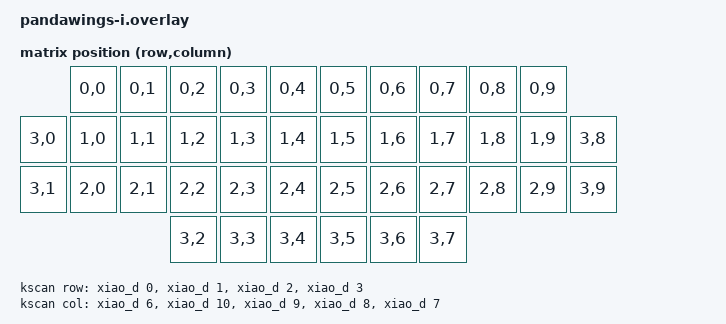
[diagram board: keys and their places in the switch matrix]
#include <dt-bindings/zmk/matrix_transform.h>

/ {
  kscan: kscan {
    compatible = "zmk,kscan-gpio-matrix";
    diode-direction = "col2row";

    col-gpios = 
      <&xiao_d 6 GPIO_ACTIVE_HIGH>,  // col1
      <&xiao_d 10 GPIO_ACTIVE_HIGH>, // col2
      <&xiao_d 9 GPIO_ACTIVE_HIGH>,  // col3
      <&xiao_d 8 GPIO_ACTIVE_HIGH>,  // col4
      <&xiao_d 7 GPIO_ACTIVE_HIGH>;  // col5
    
    row-gpios = 
      <&xiao_d 0 (GPIO_ACTIVE_HIGH | GPIO_PULL_DOWN)>,
      <&xiao_d 1 (GPIO_ACTIVE_HIGH | GPIO_PULL_DOWN)>,
      <&xiao_d 2 (GPIO_ACTIVE_HIGH | GPIO_PULL_DOWN)>,
      <&xiao_d 3 (GPIO_ACTIVE_HIGH | GPIO_PULL_DOWN)>;
  };

  default_transform: matrix_transform {
    compatible = "zmk,matrix-transform";
    columns = <10>;
    rows = <4>;

    // due to a wrong switch position in the pcb on the right half, SW34 and SW28 needed to be fliped
    //        | SW2  | SW3  | SW4  | SW5  | SW6  |  | SW27 | SW26 | SW25 | SW24 | SW23 | 
    // | SW7  | SW8  | SW9  | SW10 | SW11 | SW12 |  | SW33 | SW32 | SW31 | SW30 | SW29 | SW34 |
    // | SW13 | SW14 | SW15 | SW16 | SW17 | SW18 |  | SW39 | SW38 | SW37 | SW36 | SW35 | SW28 |
    //                      | SW19 | SW20 | SW21 |  | SW42 | SW41 | SW40 |

    map = <
              RC(0,0) RC(0,1) RC(0,2) RC(0,3) RC(0,4)  RC(0,5) RC(0,6) RC(0,7) RC(0,8) RC(0,9)
      RC(3,0) RC(1,0) RC(1,1) RC(1,2) RC(1,3) RC(1,4)  RC(1,5) RC(1,6) RC(1,7) RC(1,8) RC(1,9) RC(3,8)
      RC(3,1) RC(2,0) RC(2,1) RC(2,2) RC(2,3) RC(2,4)  RC(2,5) RC(2,6) RC(2,7) RC(2,8) RC(2,9) RC(3,9)
                              RC(3,2) RC(3,3) RC(3,4)  RC(3,5) RC(3,6) RC(3,7)
    >;
  };

  physical_layout: physical_layout {
    compatible = "zmk,physical-layout";
    display-name = "Default Layout";
    transform = <&default_transform>;
  };

  chosen {
    zmk,kscan = &kscan;
    zmk,physical-layout = &physical_layout;
  };
};
